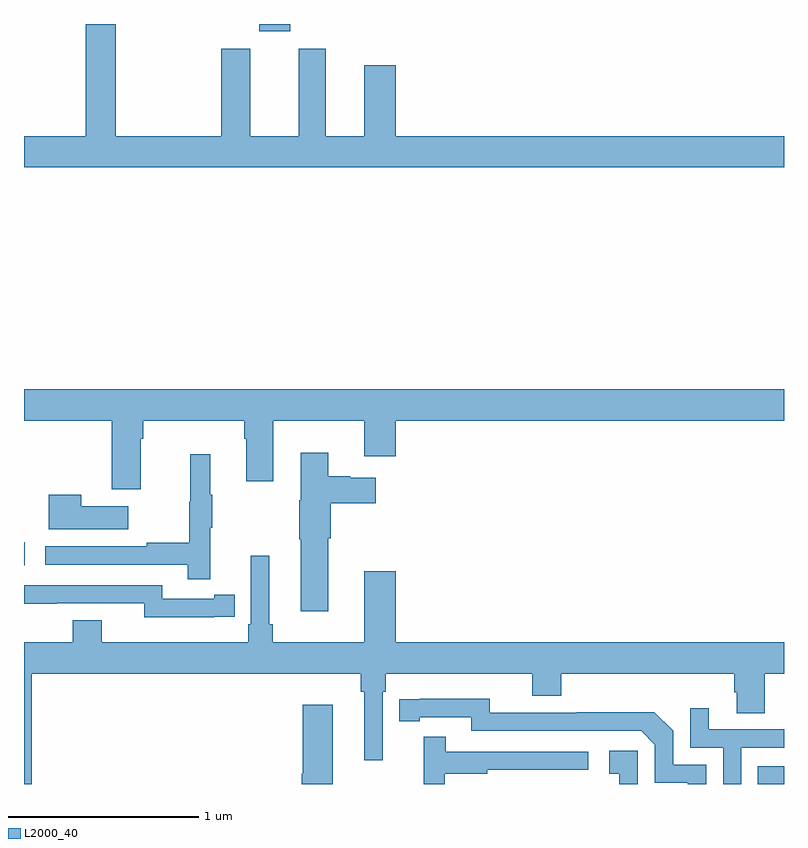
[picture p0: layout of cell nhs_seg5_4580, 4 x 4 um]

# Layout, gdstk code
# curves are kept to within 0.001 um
import gdstk
lib = gdstk.Library(unit=1e-6, precision=1e-09)
def R(c, l, rs):  # rectangles x0, y0, x1, y1
    for r in rs: c.add(gdstk.rectangle(r[:2], r[2:], *l))
def P(c, l, *ps):  # polygons
    for p in ps: c.add(gdstk.Polygon(p, *l))
L2000_40 = (2000, 40)

nhs_seg5_4580 = lib.new_cell('nhs_seg5_4580')
R(nhs_seg5_4580, L2000_40, [(382.861,902.799,383,902.892), (379,903.951,379.003,904.071), (380.237,906.762,380.401,906.799)])
P(nhs_seg5_4580, L2000_40, [(383,906.208),(380.956,906.208),(380.956,906.583),(380.792,906.583),(380.792,906.208),(380.587,906.208),(380.587,906.67),(380.447,906.67),(380.447,906.208),(380.191,906.208),(380.191,906.67),(380.039,906.67),(380.039,906.208),(379.484,906.208),(379.484,906.799),(379.324,906.799),(379.324,906.208),(379,906.208),(379,906.044),(383,906.044)],
  [(379.615,904.616),(379.628,904.616),(379.628,904.712),(380.159,904.712),(380.159,904.616),(380.171,904.616),(380.171,904.392),(380.311,904.392),(380.311,904.712),(380.792,904.712),(380.792,904.524),(380.956,904.524),(380.956,904.712),(383,904.712),(383,904.876),(379,904.876),(379,904.712),(379.463,904.712),(379.463,904.35),(379.615,904.35)],
  [(380.602,904.093),(380.615,904.093),(380.615,904.277),(380.851,904.277),(380.851,904.411),(380.718,904.411),(380.718,904.419),(380.602,904.419),(380.602,904.543),(380.456,904.543),(380.456,904.293),(380.449,904.293),(380.449,904.087),(380.456,904.087),(380.456,903.708),(380.602,903.708)],
  [(379.979,904.147),(379.99,904.147),(379.99,904.321),(379.979,904.321),(379.979,904.534),(379.876,904.534),(379.876,904.284),(379.869,904.284),(379.869,904.07),(379.645,904.07),(379.645,904.05),(379.113,904.05),(379.113,903.954),(379.861,903.954),(379.861,903.876),(379.979,903.876)],
  [(379.549,904.261),(379.301,904.261),(379.301,904.321),(379.13,904.321),(379.13,904.139),(379.549,904.139)],
  [(379.04,903.38),(380.773,903.38),(380.773,903.284),(380.792,903.284),(380.792,902.925),(380.889,902.925),(380.889,903.284),(380.903,903.284),(380.903,903.38),(381.674,903.38),(381.674,903.263),(381.827,903.263),(381.827,903.38),(382.739,903.38),(382.739,903.282),(382.751,903.282),(382.751,903.172),(382.899,903.172),(382.899,903.38),(383,903.38),(383,903.544),(380.956,903.544),(380.956,903.919),(380.792,903.919),(380.792,903.544),(380.309,903.544),(380.309,903.64),(380.29,903.64),(380.29,904),(380.193,904),(380.193,903.64),(380.18,903.64),(380.18,903.544),(379.408,903.544),(379.408,903.661),(379.256,903.661),(379.256,903.544),(379,903.544),(379,902.799),(379.04,902.799)],
  [(380,903.678),(380.108,903.678),(380.108,903.794),(380,903.794),(380,903.774),(379.728,903.774),(379.728,903.846),(379,903.846),(379,903.749),(379.172,903.749),(379.172,903.75),(379.632,903.75),(379.632,903.677),(380,903.677)],
  [(382.59,902.901),(382.416,902.901),(382.416,903.078),(382.318,903.176),(381.91,903.176),(381.91,903.174),(381.45,903.174),(381.45,903.247),(380.974,903.246),(380.974,903.13),(381.082,903.13),(381.082,903.15),(381.354,903.15),(381.354,903.078),(382.248,903.078),(382.32,903.006),(382.32,902.805),(382.493,902.805),(382.493,902.799),(382.59,902.799)],
  [(380.626,903.217),(380.468,903.217),(380.468,902.853),(380.462,902.853),(380.462,902.799),(380.626,902.799)],
  [(382.776,902.991),(383,902.991),(383,903.087),(382.603,903.087),(382.603,903.199),(382.506,903.199),(382.506,902.991),(382.68,902.991),(382.68,902.799),(382.776,902.799)],
  [(381.214,902.854),(381.437,902.854),(381.437,902.874),(381.97,902.874),(381.97,902.97),(381.221,902.97),(381.221,903.049),(381.104,903.049),(381.104,902.799),(381.214,902.799)],
  [(382.23,902.974),(382.08,902.974),(382.08,902.853),(382.133,902.853),(382.133,902.799),(382.23,902.799)])

lib.write_gds('nhs_seg5_4580.gds')
